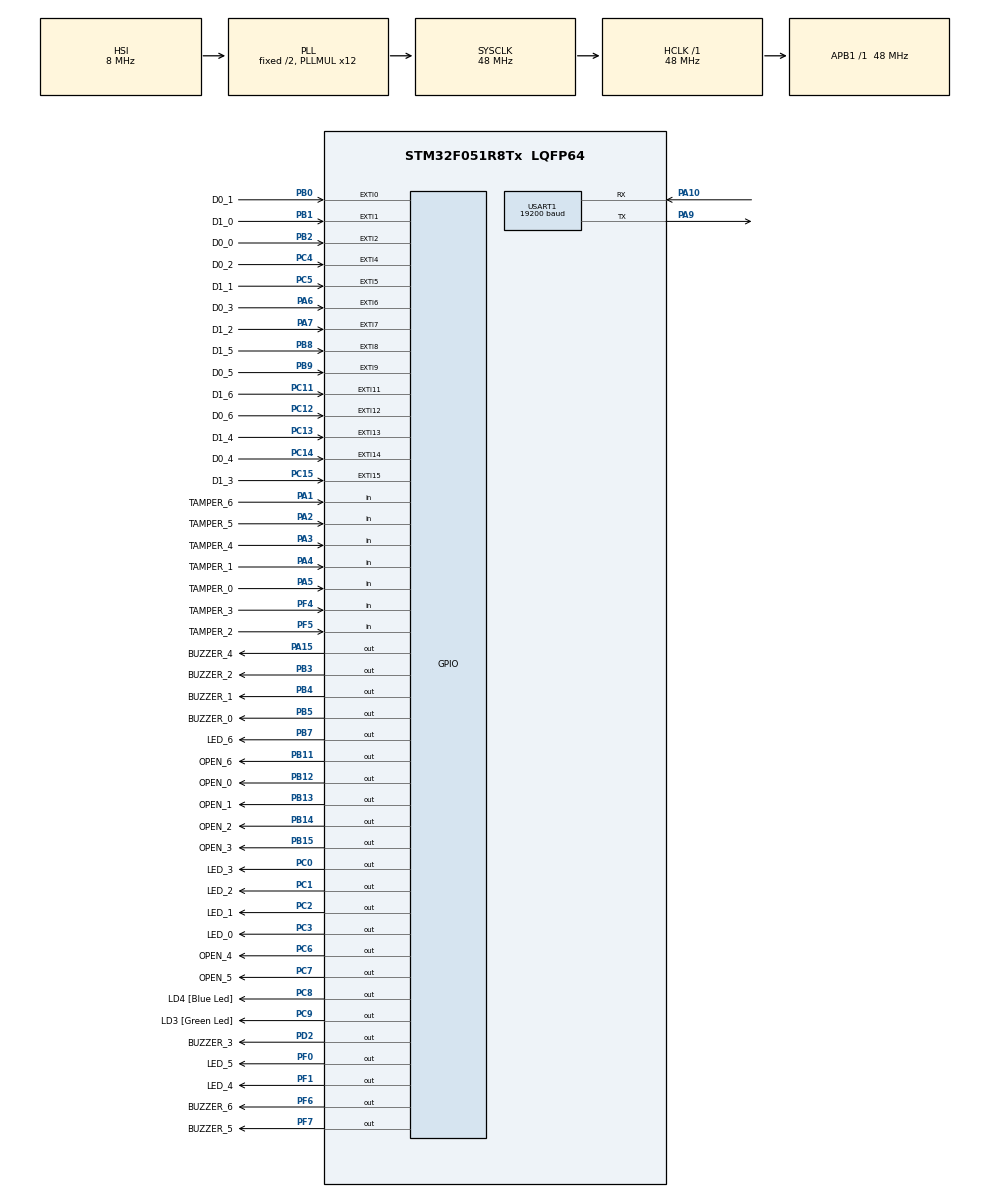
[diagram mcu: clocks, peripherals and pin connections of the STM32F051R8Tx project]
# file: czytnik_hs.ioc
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Dma.Request0=USART1_TX
Dma.Request1=USART1_RX
Dma.USART1_RX.1.Direction=DMA_PERIPH_TO_MEMORY
Dma.USART1_RX.1.Instance=DMA1_Channel3
Dma.USART1_RX.1.MemDataAlignment=DMA_MDATAALIGN_BYTE
Dma.USART1_RX.1.MemInc=DMA_MINC_ENABLE
Dma.USART1_RX.1.Mode=DMA_CIRCULAR
Dma.USART1_RX.1.PeriphDataAlignment=DMA_PDATAALIGN_BYTE
Dma.USART1_RX.1.PeriphInc=DMA_PINC_DISABLE
Dma.USART1_RX.1.Priority=DMA_PRIORITY_LOW
Dma.USART1_TX.0.Direction=DMA_MEMORY_TO_PERIPH
Dma.USART1_TX.0.Instance=DMA1_Channel2
Dma.USART1_TX.0.MemDataAlignment=DMA_MDATAALIGN_BYTE
Dma.USART1_TX.0.MemInc=DMA_MINC_ENABLE
Dma.USART1_TX.0.Mode=DMA_NORMAL
Dma.USART1_TX.0.PeriphDataAlignment=DMA_PDATAALIGN_BYTE
Dma.USART1_TX.0.PeriphInc=DMA_PINC_DISABLE
Dma.USART1_TX.0.Priority=DMA_PRIORITY_LOW
IWDG.Prescaler=IWDG_PRESCALER_4
Mcu.Family=STM32F0
Mcu.Name=STM32F051R8Tx
Mcu.Package=LQFP64
NVIC.DMA1_Channel2_3_IRQn=true\:0\:0\:false\:false\:true
NVIC.EXTI0_1_IRQn=true\:0\:0\:false\:false\:true
NVIC.EXTI2_3_IRQn=true\:0\:0\:false\:false\:true
NVIC.EXTI4_15_IRQn=true\:0\:0\:false\:false\:true
NVIC.USART1_IRQn=true\:0\:0\:false\:false\:true
PA1.GPIO_Label=TAMPER_6
PA1.GPIO_PuPd=GPIO_PULLDOWN
PA1.Signal=GPIO_Input
PA10.Mode=Asynchronous
PA10.Signal=USART1_RX
PA13.GPIO_Label=SWDIO
PA13.Mode=Serial-WireDebug
PA13.Signal=SYS_SWDIO
PA14.GPIO_Label=SWCLK
PA14.Mode=Serial-WireDebug
PA14.Signal=SYS_SWCLK
PA15.GPIO_Label=BUZZER_4
PA15.Signal=GPIO_Output
PA2.GPIO_Label=TAMPER_5
PA2.GPIO_PuPd=GPIO_PULLDOWN
PA2.Signal=GPIO_Input
PA3.GPIO_Label=TAMPER_4
PA3.GPIO_PuPd=GPIO_PULLDOWN
PA3.Signal=GPIO_Input
PA4.GPIO_Label=TAMPER_1
PA4.GPIO_PuPd=GPIO_PULLDOWN
PA4.Signal=GPIO_Input
PA5.GPIO_Label=TAMPER_0
PA5.GPIO_PuPd=GPIO_PULLDOWN
PA5.Signal=GPIO_Input
PA6.GPIO_Label=D0_3
PA6.GPIO_PuPd=GPIO_PULLUP
PA6.Signal=GPXTI6
PA7.GPIO_Label=D1_2
PA7.GPIO_PuPd=GPIO_PULLUP
PA7.Signal=GPXTI7
PA9.Mode=Asynchronous
PA9.Signal=USART1_TX
PB0.GPIO_Label=D0_1
PB0.GPIO_PuPd=GPIO_PULLUP
PB0.Signal=GPXTI0
PB1.GPIO_Label=D1_0
PB1.GPIO_PuPd=GPIO_PULLUP
PB1.Signal=GPXTI1
PB11.GPIO_Label=OPEN_6
PB11.Signal=GPIO_Output
PB12.GPIO_Label=OPEN_0
PB12.Signal=GPIO_Output
PB13.GPIO_Label=OPEN_1
PB13.Signal=GPIO_Output
PB14.GPIO_Label=OPEN_2
PB14.Signal=GPIO_Output
PB15.GPIO_Label=OPEN_3
PB15.Signal=GPIO_Output
PB2.GPIO_Label=D0_0
PB2.GPIO_PuPd=GPIO_PULLUP
PB2.Signal=GPXTI2
PB3.GPIO_Label=BUZZER_2
PB3.Signal=GPIO_Output
PB4.GPIO_Label=BUZZER_1
PB4.Signal=GPIO_Output
PB5.GPIO_Label=BUZZER_0
PB5.Signal=GPIO_Output
PB7.GPIO_Label=LED_6
PB7.Signal=GPIO_Output
PB8.GPIO_Label=D1_5
PB8.GPIO_PuPd=GPIO_PULLUP
PB8.Signal=GPXTI8
PB9.GPIO_Label=D0_5
PB9.GPIO_PuPd=GPIO_PULLUP
PB9.Signal=GPXTI9
PC0.GPIO_Label=LED_3
PC0.Signal=GPIO_Output
PC1.GPIO_Label=LED_2
PC1.Signal=GPIO_Output
PC11.GPIO_Label=D1_6
PC11.GPIO_PuPd=GPIO_PULLUP
PC11.Signal=GPXTI11
PC12.GPIO_Label=D0_6
PC12.GPIO_PuPd=GPIO_PULLUP
PC12.Signal=GPXTI12
PC13.GPIO_Label=D1_4
PC13.GPIO_PuPd=GPIO_PULLUP
PC13.Signal=GPXTI13
PC14-OSC32_IN.GPIO_Label=D0_4
PC14-OSC32_IN.GPIO_PuPd=GPIO_PULLUP
PC14-OSC32_IN.Signal=GPXTI14
PC15-OSC32_OUT.GPIO_Label=D1_3
PC15-OSC32_OUT.GPIO_PuPd=GPIO_PULLUP
PC15-OSC32_OUT.Signal=GPXTI15
PC2.GPIO_Label=LED_1
PC2.Signal=GPIO_Output
PC3.GPIO_Label=LED_0
PC3.Signal=GPIO_Output
PC4.GPIO_Label=D0_2
PC4.GPIO_PuPd=GPIO_PULLUP
PC4.Signal=GPXTI4
PC5.GPIO_Label=D1_1
PC5.GPIO_PuPd=GPIO_PULLUP
PC5.Signal=GPXTI5
PC6.GPIO_Label=OPEN_4
PC6.Signal=GPIO_Output
PC7.GPIO_Label=OPEN_5
PC7.Signal=GPIO_Output
PC8.GPIO_Label=LD4 [Blue Led]
PC8.Signal=GPIO_Output
PC9.GPIO_Label=LD3 [Green Led]
PC9.Signal=GPIO_Output
PD2.GPIO_Label=BUZZER_3
PD2.Signal=GPIO_Output
PF0-OSC_IN.GPIO_Label=LED_5
PF0-OSC_IN.Signal=GPIO_Output
PF1-OSC_OUT.GPIO_Label=LED_4
PF1-OSC_OUT.Signal=GPIO_Output
PF4.GPIO_Label=TAMPER_3
PF4.GPIO_PuPd=GPIO_PULLDOWN
PF4.Signal=GPIO_Input
PF5.GPIO_Label=TAMPER_2
PF5.GPIO_PuPd=GPIO_PULLDOWN
PF5.Signal=GPIO_Input
PF6.GPIO_Label=BUZZER_6
PF6.Signal=GPIO_Output
PF7.GPIO_Label=BUZZER_5
PF7.Signal=GPIO_Output
ProjectManager.HeapSize=0x200
ProjectManager.StackSize=0x400
ProjectManager.TargetToolchain=SW4STM32
RCC.AHBFreq_Value=48000000
RCC.APB1Freq_Value=48000000
RCC.APB1TimFreq_Value=48000000
RCC.DATA_CACHE_ENABLE=1
RCC.HCLKFreq_Value=48000000
RCC.INSTRUCTION_CACHE_ENABLE=1
RCC.PLLMUL=RCC_PLL_MUL12
RCC.SYSCLKFreq_VALUE=48000000
RCC.SYSCLKSource=RCC_SYSCLKSOURCE_PLLCLK
USART1.BaudRate=19200
VP_IWDG_VS_IWDG.Mode=IWDG_Activate
board=STM32F0DISCOVERY

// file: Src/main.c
/**
  ******************************************************************************
  * File Name          : main.c
  * Description        : Main program body
  ******************************************************************************
  *
  * COPYRIGHT(c) 2016 STMicroelectronics
  *
  * Redistribution and use in source and binary forms, with or without modification,
  * are permitted provided that the following conditions are met:
  *   1. Redistributions of source code must retain the above copyright notice,
  *      this list of conditions and the following disclaimer.
  *   2. Redistributions in binary form must reproduce the above copyright notice,
  *      this list of conditions and the following disclaimer in the documentation
  *      and/or other materials provided with the distribution.
  *   3. Neither the name of STMicroelectronics nor the names of its contributors
  *      may be used to endorse or promote products derived from this software
  *      without specific prior written permission.
  *
  * THIS SOFTWARE IS PROVIDED BY THE COPYRIGHT HOLDERS AND CONTRIBUTORS "AS IS"
  * AND ANY EXPRESS OR IMPLIED WARRANTIES, INCLUDING, BUT NOT LIMITED TO, THE
  * IMPLIED WARRANTIES OF MERCHANTABILITY AND FITNESS FOR A PARTICULAR PURPOSE ARE
  * DISCLAIMED. IN NO EVENT SHALL THE COPYRIGHT HOLDER OR CONTRIBUTORS BE LIABLE
  * FOR ANY DIRECT, INDIRECT, INCIDENTAL, SPECIAL, EXEMPLARY, OR CONSEQUENTIAL
  * DAMAGES (INCLUDING, BUT NOT LIMITED TO, PROCUREMENT OF SUBSTITUTE GOODS OR
  * SERVICES; LOSS OF USE, DATA, OR PROFITS; OR BUSINESS INTERRUPTION) HOWEVER
  * CAUSED AND ON ANY THEORY OF LIABILITY, WHETHER IN CONTRACT, STRICT LIABILITY,
  * OR TORT (INCLUDING NEGLIGENCE OR OTHERWISE) ARISING IN ANY WAY OUT OF THE USE
  * OF THIS SOFTWARE, EVEN IF ADVISED OF THE POSSIBILITY OF SUCH DAMAGE.
  *
  ******************************************************************************
  */
#include "stm32f0xx_hal.h"

/* USER CODE BEGIN Includes */

#include "project_constants.h"
#include "wiegand.h"
#include "zone.h"
#include "uart_controller.h"

/* USER CODE END Includes */

IWDG_HandleTypeDef hiwdg;

UART_HandleTypeDef huart1;
DMA_HandleTypeDef hdma_usart1_tx;
DMA_HandleTypeDef hdma_usart1_rx;

/* USER CODE BEGIN PV */
/* Private variables ---------------------------------------------------------*/

/* USER CODE END PV */

void SystemClock_Config(void);
static void MX_GPIO_Init(void);
static void MX_DMA_Init(void);
static void MX_USART1_UART_Init(void);
static void MX_IWDG_Init(void);

/* USER CODE BEGIN PFP */
/* Private function prototypes -----------------------------------------------*/

/* USER CODE END PFP */

/* USER CODE BEGIN 0 */

static void Wiegand_Init(void)
{
	WiegandInitTypeDef WiegandInitStruct;
	WiegandInitStruct.channels_number = PROJECT_CONSTANT_CHANNELS_NUMBER;
	WiegandInitStruct.check_parity = 1;

	Wiegand_Config(&WiegandInitStruct);
}

static void Zone_Init(void)
{
	Zone_InitTypeDef ZoneInitStruct;
	ZoneInitStruct.channels = PROJECT_CONSTANT_CHANNELS_NUMBER;

	Zone_Config(&ZoneInitStruct);
}

static void UART_Controller_Init(void)
{
	UART_Controller_InitTypeDef UARTControllerInitStruct;
	UARTControllerInitStruct.uart = &huart1;

	UART_Controller_Config(&UARTControllerInitStruct);
}

/* USER CODE END 0 */

int main(void)
{

  /* MCU Configuration----------------------------------------------------------*/

  /* Reset of all peripherals, Initializes the Flash interface and the Systick. */
  HAL_Init();

  /* Configure the system clock */
  SystemClock_Config();

  /* Initialize all configured peripherals */
  MX_GPIO_Init();
  MX_DMA_Init();
  MX_USART1_UART_Init();
  MX_IWDG_Init();

  /* USER CODE BEGIN 2 */

  Wiegand_Init();
  Zone_Init();
  UART_Controller_Init();

  HAL_IWDG_Start(&hiwdg);

  // check if we have been resetted by watchdog
  if(__HAL_RCC_GET_FLAG(RCC_FLAG_IWDGRST))
  {
	  UART_Controller_SendWatchdog();
	  __HAL_RCC_CLEAR_RESET_FLAGS();
  }

  /* USER CODE END 2 */

  /* Infinite loop */
  while (1)
  {

  /* USER CODE BEGIN 3 */

	HAL_GPIO_WritePin(LD4_GPIO_Port, LD4_Pin, GPIO_PIN_SET);
	Wiegand_Process();
	UART_Controller_Process();
	HAL_GPIO_WritePin(LD4_GPIO_Port, LD4_Pin, GPIO_PIN_RESET);

	HAL_IWDG_Refresh(&hiwdg);

	__WFI();
  }
  /* USER CODE END 3 */

}

/** System Clock Configuration
*/
void SystemClock_Config(void)
{

  RCC_OscInitTypeDef RCC_OscInitStruct;
  RCC_ClkInitTypeDef RCC_ClkInitStruct;
  RCC_PeriphCLKInitTypeDef PeriphClkInit;

  RCC_OscInitStruct.OscillatorType = RCC_OSCILLATORTYPE_HSI|RCC_OSCILLATORTYPE_LSI;
  RCC_OscInitStruct.HSIState = RCC_HSI_ON;
  RCC_OscInitStruct.HSICalibrationValue = 16;
  RCC_OscInitStruct.LSIState = RCC_LSI_ON;
  RCC_OscInitStruct.PLL.PLLState = RCC_PLL_ON;
  RCC_OscInitStruct.PLL.PLLSource = RCC_PLLSOURCE_HSI;
  RCC_OscInitStruct.PLL.PLLMUL = RCC_PLL_MUL12;
  RCC_OscInitStruct.PLL.PREDIV = RCC_PREDIV_DIV1;
  HAL_RCC_OscConfig(&RCC_OscInitStruct);

  RCC_ClkInitStruct.ClockType = RCC_CLOCKTYPE_HCLK|RCC_CLOCKTYPE_SYSCLK
                              |RCC_CLOCKTYPE_PCLK1;
  RCC_ClkInitStruct.SYSCLKSource = RCC_SYSCLKSOURCE_PLLCLK;
  RCC_ClkInitStruct.AHBCLKDivider = RCC_SYSCLK_DIV1;
  RCC_ClkInitStruct.APB1CLKDivider = RCC_HCLK_DIV1;
  HAL_RCC_ClockConfig(&RCC_ClkInitStruct, FLASH_LATENCY_1);

  PeriphClkInit.PeriphClockSelection = RCC_PERIPHCLK_USART1;
  PeriphClkInit.Usart1ClockSelection = RCC_USART1CLKSOURCE_PCLK1;
  HAL_RCCEx_PeriphCLKConfig(&PeriphClkInit);

  HAL_SYSTICK_Config(HAL_RCC_GetHCLKFreq()/1000);

  HAL_SYSTICK_CLKSourceConfig(SYSTICK_CLKSOURCE_HCLK);

  /* SysTick_IRQn interrupt configuration */
  HAL_NVIC_SetPriority(SysTick_IRQn, 0, 0);
}

/* IWDG init function */
void MX_IWDG_Init(void)
{

  hiwdg.Instance = IWDG;
  hiwdg.Init.Prescaler = IWDG_PRESCALER_4;
  hiwdg.Init.Window = 4095;
  hiwdg.Init.Reload = 4095;
  HAL_IWDG_Init(&hiwdg);

}

/* USART1 init function */
void MX_USART1_UART_Init(void)
{

  huart1.Instance = USART1;
  huart1.Init.BaudRate = 19200;
  huart1.Init.WordLength = UART_WORDLENGTH_8B;
  huart1.Init.StopBits = UART_STOPBITS_1;
  huart1.Init.Parity = UART_PARITY_NONE;
  huart1.Init.Mode = UART_MODE_TX_RX;
  huart1.Init.HwFlowCtl = UART_HWCONTROL_NONE;
  huart1.Init.OverSampling = UART_OVERSAMPLING_16;
  huart1.Init.OneBitSampling = UART_ONE_BIT_SAMPLE_DISABLE;
  huart1.AdvancedInit.AdvFeatureInit = UART_ADVFEATURE_NO_INIT;
  HAL_UART_Init(&huart1);

}

void MX_DMA_Init(void)
{
  /* DMA controller clock enable */
  __HAL_RCC_DMA1_CLK_ENABLE();

  /* DMA interrupt init */
  /* DMA1_Channel2_3_IRQn interrupt configuration */
  HAL_NVIC_SetPriority(DMA1_Channel2_3_IRQn, 0, 0);
  HAL_NVIC_EnableIRQ(DMA1_Channel2_3_IRQn);

}

/** Configure pins as
        * Analog
        * Input
        * Output
        * EVENT_OUT
        * EXTI
*/
void MX_GPIO_Init(void)
{

  GPIO_InitTypeDef GPIO_InitStruct;

  /* GPIO Ports Clock Enable */
  __HAL_RCC_GPIOC_CLK_ENABLE();
  __HAL_RCC_GPIOF_CLK_ENABLE();
  __HAL_RCC_GPIOA_CLK_ENABLE();
  __HAL_RCC_GPIOB_CLK_ENABLE();
  __HAL_RCC_GPIOD_CLK_ENABLE();

  /*Configure GPIO pins : D1_4_Pin D0_4_Pin D1_3_Pin D0_2_Pin
                           D1_1_Pin D1_6_Pin D0_6_Pin */
  GPIO_InitStruct.Pin = D1_4_Pin|D0_4_Pin|D1_3_Pin|D0_2_Pin
                          |D1_1_Pin|D1_6_Pin|D0_6_Pin;
  GPIO_InitStruct.Mode = GPIO_MODE_IT_RISING;
  GPIO_InitStruct.Pull = GPIO_PULLUP;
  HAL_GPIO_Init(GPIOC, &GPIO_InitStruct);

  /*Configure GPIO pins : LED_5_Pin LED_4_Pin BUZZER_6_Pin BUZZER_5_Pin */
  GPIO_InitStruct.Pin = LED_5_Pin|LED_4_Pin|BUZZER_6_Pin|BUZZER_5_Pin;
  GPIO_InitStruct.Mode = GPIO_MODE_OUTPUT_PP;
  GPIO_InitStruct.Pull = GPIO_NOPULL;
  GPIO_InitStruct.Speed = GPIO_SPEED_FREQ_LOW;
  HAL_GPIO_Init(GPIOF, &GPIO_InitStruct);

  /*Configure GPIO pins : LED_3_Pin LED_2_Pin LED_1_Pin LED_0_Pin
                           OPEN_4_Pin OPEN_5_Pin LD4_Pin LD3_Pin */
  GPIO_InitStruct.Pin = LED_3_Pin|LED_2_Pin|LED_1_Pin|LED_0_Pin
                          |OPEN_4_Pin|OPEN_5_Pin|LD4_Pin|LD3_Pin;
  GPIO_InitStruct.Mode = GPIO_MODE_OUTPUT_PP;
  GPIO_InitStruct.Pull = GPIO_NOPULL;
  GPIO_InitStruct.Speed = GPIO_SPEED_FREQ_LOW;
  HAL_GPIO_Init(GPIOC, &GPIO_InitStruct);

  /*Configure GPIO pins : TAMPER_6_Pin TAMPER_5_Pin TAMPER_4_Pin TAMPER_1_Pin
                           TAMPER_0_Pin */
  GPIO_InitStruct.Pin = TAMPER_6_Pin|TAMPER_5_Pin|TAMPER_4_Pin|TAMPER_1_Pin
                          |TAMPER_0_Pin;
  GPIO_InitStruct.Mode = GPIO_MODE_INPUT;
  GPIO_InitStruct.Pull = GPIO_PULLDOWN;
  HAL_GPIO_Init(GPIOA, &GPIO_InitStruct);

  /*Configure GPIO pins : TAMPER_3_Pin TAMPER_2_Pin */
  GPIO_InitStruct.Pin = TAMPER_3_Pin|TAMPER_2_Pin;
  GPIO_InitStruct.Mode = GPIO_MODE_INPUT;
  GPIO_InitStruct.Pull = GPIO_PULLDOWN;
  HAL_GPIO_Init(GPIOF, &GPIO_InitStruct);

  /*Configure GPIO pins : D0_3_Pin D1_2_Pin */
  GPIO_InitStruct.Pin = D0_3_Pin|D1_2_Pin;
  GPIO_InitStruct.Mode = GPIO_MODE_IT_RISING;
  GPIO_InitStruct.Pull = GPIO_PULLUP;
  HAL_GPIO_Init(GPIOA, &GPIO_InitStruct);

  /*Configure GPIO pins : D0_1_Pin D1_0_Pin D0_0_Pin D1_5_Pin
                           D0_5_Pin */
  GPIO_InitStruct.Pin = D0_1_Pin|D1_0_Pin|D0_0_Pin|D1_5_Pin
                          |D0_5_Pin;
  GPIO_InitStruct.Mode = GPIO_MODE_IT_RISING;
  GPIO_InitStruct.Pull = GPIO_PULLUP;
  HAL_GPIO_Init(GPIOB, &GPIO_InitStruct);

  /*Configure GPIO pins : OPEN_6_Pin OPEN_0_Pin OPEN_1_Pin OPEN_2_Pin
                           OPEN_3_Pin BUZZER_2_Pin BUZZER_1_Pin BUZZER_0_Pin
                           LED_6_Pin */
  GPIO_InitStruct.Pin = OPEN_6_Pin|OPEN_0_Pin|OPEN_1_Pin|OPEN_2_Pin
                          |OPEN_3_Pin|BUZZER_2_Pin|BUZZER_1_Pin|BUZZER_0_Pin
                          |LED_6_Pin;
  GPIO_InitStruct.Mode = GPIO_MODE_OUTPUT_PP;
  GPIO_InitStruct.Pull = GPIO_NOPULL;
  GPIO_InitStruct.Speed = GPIO_SPEED_FREQ_LOW;
  HAL_GPIO_Init(GPIOB, &GPIO_InitStruct);

  /*Configure GPIO pin : BUZZER_4_Pin */
  GPIO_InitStruct.Pin = BUZZER_4_Pin;
  GPIO_InitStruct.Mode = GPIO_MODE_OUTPUT_PP;
  GPIO_InitStruct.Pull = GPIO_NOPULL;
  GPIO_InitStruct.Speed = GPIO_SPEED_FREQ_LOW;
  HAL_GPIO_Init(BUZZER_4_GPIO_Port, &GPIO_InitStruct);

  /*Configure GPIO pin : BUZZER_3_Pin */
  GPIO_InitStruct.Pin = BUZZER_3_Pin;
  GPIO_InitStruct.Mode = GPIO_MODE_OUTPUT_PP;
  GPIO_InitStruct.Pull = GPIO_NOPULL;
  GPIO_InitStruct.Speed = GPIO_SPEED_FREQ_LOW;
  HAL_GPIO_Init(BUZZER_3_GPIO_Port, &GPIO_InitStruct);

  /*Configure GPIO pin Output Level */
  HAL_GPIO_WritePin(GPIOF, LED_5_Pin|LED_4_Pin|BUZZER_6_Pin|BUZZER_5_Pin, GPIO_PIN_RESET);

  /*Configure GPIO pin Output Level */
  HAL_GPIO_WritePin(GPIOC, LED_3_Pin|LED_2_Pin|LED_1_Pin|LED_0_Pin
                          |OPEN_4_Pin|OPEN_5_Pin|LD4_Pin|LD3_Pin, GPIO_PIN_RESET);

  /*Configure GPIO pin Output Level */
  HAL_GPIO_WritePin(GPIOB, OPEN_6_Pin|OPEN_0_Pin|OPEN_1_Pin|OPEN_2_Pin
                          |OPEN_3_Pin|BUZZER_2_Pin|BUZZER_1_Pin|BUZZER_0_Pin
                          |LED_6_Pin, GPIO_PIN_RESET);

  /*Configure GPIO pin Output Level */
  HAL_GPIO_WritePin(BUZZER_4_GPIO_Port, BUZZER_4_Pin, GPIO_PIN_RESET);

  /*Configure GPIO pin Output Level */
  HAL_GPIO_WritePin(BUZZER_3_GPIO_Port, BUZZER_3_Pin, GPIO_PIN_RESET);

  /* EXTI interrupt init*/
  HAL_NVIC_SetPriority(EXTI0_1_IRQn, 0, 0);
  HAL_NVIC_EnableIRQ(EXTI0_1_IRQn);

  HAL_NVIC_SetPriority(EXTI2_3_IRQn, 0, 0);
  HAL_NVIC_EnableIRQ(EXTI2_3_IRQn);

  HAL_NVIC_SetPriority(EXTI4_15_IRQn, 0, 0);
  HAL_NVIC_EnableIRQ(EXTI4_15_IRQn);

}

/************************ (C) COPYRIGHT STMicroelectronics *****END OF FILE****/
